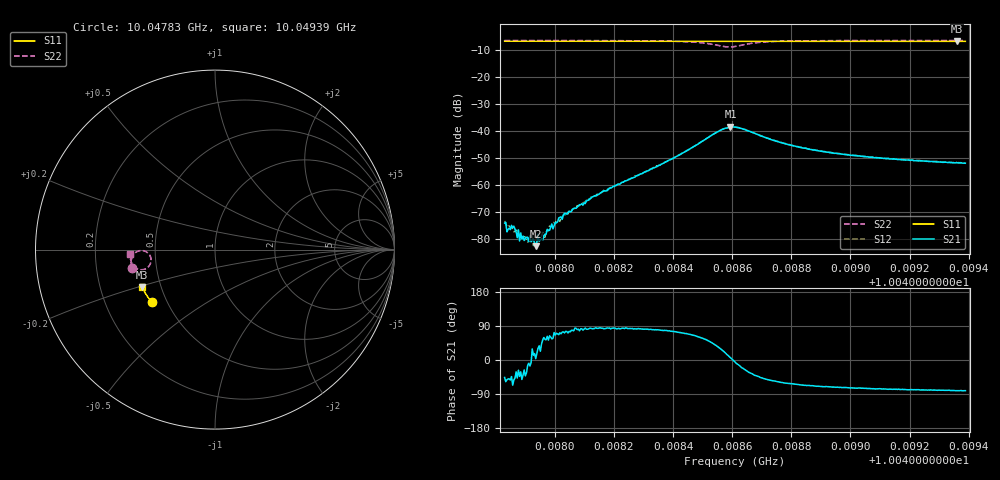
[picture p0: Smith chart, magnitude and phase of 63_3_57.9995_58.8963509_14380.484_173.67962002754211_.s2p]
#  HZ  S  RI  R  50.00
! Rohde & Schwarz Vector Network Analyzer
! Rohde-Schwarz,ZNB20-2Port,1311601062101988,3.16
! Created: UTC 3/21/2024, 12:53:05 AM
! freq[Hz]  re:S11  im:S11  re:S21  im:S21  re:S12  im:S12  re:S22  im:S22
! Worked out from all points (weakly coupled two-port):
!   401 points, 10.04783 GHz to 10.04939 GHz, reference 50 ohm
!   highest |S21| = -38.41 dB at 10.04859 GHz (marker M1); lowest = -82.6 dB at 10.04794 GHz (marker M2)
!   lowest |S11| = -6.8 dB at 10.04936 GHz (marker M3), VSWR 2.68, Z = 19.6 - j10.3 ohm
!   |S11| at or under -10 dB: nowhere
!   |S22| runs from -8.9 to -6.5 dB; largest |S21 - S12| = 0.00091
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1.004783e10  -0.3533 -0.2941  0.000137 -0.000143  0.00012 -0.000181  -0.4642 -0.1014
1.0047845e10  -0.3539 -0.2933  0.000103 -0.000122  0.000121 -0.000128  -0.4643 -0.1
1.0047861e10  -0.3545 -0.2924  0.000105 -0.000139  9.35e-05 -0.0001  -0.4646 -0.0988
1.0047873e10  -0.355 -0.2918  7.21e-05 -7.85e-05  0.000114 -8.91e-05  -0.4646 -0.0978
1.0047884e10  -0.3555 -0.2912  0.000112 -6.74e-05  8.9e-05 -5.8e-05  -0.4649 -0.0968
1.0047896e10  -0.3561 -0.2907  8.5e-05 -4.16e-05  0.000107 -2.41e-05  -0.4649 -0.0958
1.0047935e10  -0.3575 -0.2885  7.41e-05 4.59e-06  8.74e-05 2.51e-05  -0.4653 -0.0926
1.0047955e10  -0.3584 -0.2876  7.73e-05 6.91e-05  7.57e-05 7.92e-05  -0.4655 -0.0908
1.004797e10  -0.3589 -0.2867  7.38e-05 9.89e-05  0.000102 8.35e-05  -0.4658 -0.0896
1.004799e10  -0.3597 -0.2856  0.000108 0.000159  5.22e-05 0.000164  -0.4659 -0.088
1.0048021e10  -0.3609 -0.2841  9.15e-05 0.000242  4.98e-05 0.000246  -0.4662 -0.0851
1.0048091e10  -0.3638 -0.2803  5.96e-05 0.000447  3.14e-05 0.000452  -0.4666 -0.0785
1.0048161e10  -0.3665 -0.2764  8.14e-05 0.000759  3.73e-05 0.000743  -0.4668 -0.0712
1.0048352e10  -0.3737 -0.2658  0.000428 0.00227  0.00032 0.00232  -0.4626 -0.0445
1.0048528e10  -0.3795 -0.2557  0.00555 0.00601  0.00519 0.00635  -0.4085 -0.00504
1.0048594e10  -0.3811 -0.2523  0.0119 0.00134  0.0116 0.00205  -0.3561 -0.0554
1.0048609e10  -0.3816 -0.2516  0.0119 -0.00102  0.0119 -0.000276  -0.3595 -0.077
1.0048707e10  -0.3855 -0.2469  0.0051 -0.00587  0.00553 -0.00556  -0.4315 -0.1078
1.0048871e10  -0.3915 -0.2372  0.0017 -0.00416  0.00199 -0.00411  -0.4633 -0.0758
1.0049132e10  -0.3999 -0.2221  0.000687 -0.00297  0.000879 -0.00296  -0.4719 -0.0456
1.0049362e10  -0.4067 -0.2082  0.000405 -0.00256  0.000569 -0.00253  -0.4739 -0.026
1.0049389e10  -0.4076 -0.2069  0.000398 -0.00251  0.000548 -0.00251  -0.4741 -0.0237
